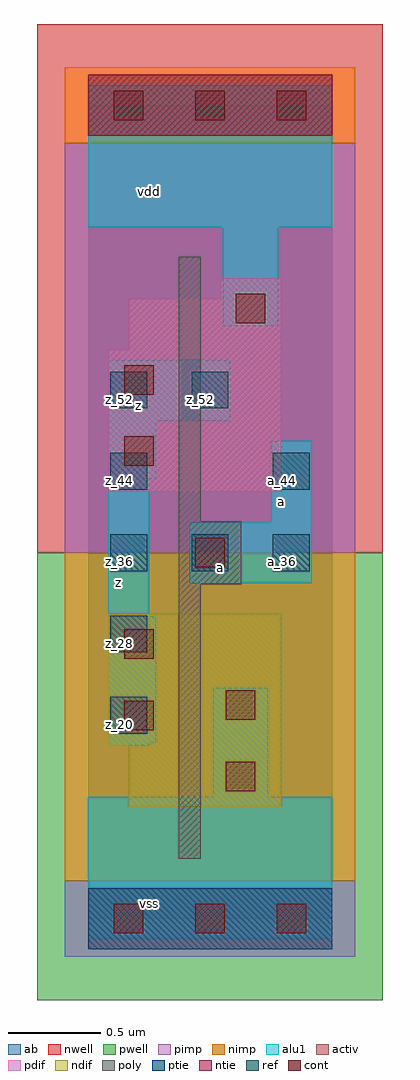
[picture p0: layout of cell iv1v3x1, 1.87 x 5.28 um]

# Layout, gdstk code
import gdstk
lib = gdstk.Library(unit=1e-6, precision=2.5e-09)
def R(c, l, rs):  # rectangles x0, y0, x1, y1
    for r in rs: c.add(gdstk.rectangle(r[:2], r[2:], *l))
def A(c, l, x, y, w, h, nx, ny, dx, dy):  # array of equal rectangles
    R(c, l, [(x+i*dx, y+j*dy, x+i*dx+w, y+j*dy+h) for i in range(nx) for j in range(ny)])
ndif = (3, 0)
pdif = (4, 0)
ntie = (5, 0)
ptie = (6, 0)
ref = (24, 0)
cont = (25, 0)
pwell = (41, 0)
nwell = (42, 0)
activ = (43, 0)
pimp = (44, 0)
nimp = (45, 0)
poly = (46, 0)
alu1 = (49, 0)
ab = (63, 0)

iv1v3x1 = lib.new_cell('iv1v3x1')
R(iv1v3x1, ndif, [(0.22,0.605,1.045,0.935), (0.11,0.935,1.045,1.65)])
R(iv1v3x1, pdif, [(0.11,2.31,1.045,3.08), (0.22,3.08,1.045,3.355), (0.715,3.355,1.045,3.465)])
R(iv1v3x1, ntie, [(0,4.235,1.32,4.565)])
R(iv1v3x1, ptie, [(0,-0.165,1.32,0.165)])
A(iv1v3x1, ref, 0.12, 1.88, 0.2, 0.2, 3, 1, 0.44, 0)
R(iv1v3x1, ref, [(0.12,1,0.32,1.2), (0.12,1.44,0.32,1.64), (0.12,2.32,0.32,2.52), (1,2.32,1.2,2.52), (0.12,2.76,0.32,2.96), (0.56,2.76,0.76,2.96)])
A(iv1v3x1, cont, 0.14, -0.08, 0.16, 0.16, 3, 2, 0.44, 4.4)
R(iv1v3x1, cont, [(0.745,0.69,0.905,0.85), (0.195,1.02,0.355,1.18), (0.745,1.075,0.905,1.235), (0.195,1.405,0.355,1.565), (0.58,1.9,0.74,2.06), (0.195,2.45,0.355,2.61), (0.195,2.835,0.355,2.995), (0.8,3.22,0.96,3.38)])
R(iv1v3x1, pwell, [(-0.275,-0.44,1.595,1.98)])
R(iv1v3x1, nwell, [(-0.275,1.98,1.595,4.84)])
R(iv1v3x1, activ, [(0,-0.165,1.32,0.165), (0.22,0.605,1.045,0.935), (0.11,0.935,1.045,1.65), (0.11,2.31,1.045,3.08), (0.22,3.08,1.045,3.355), (0.715,3.355,1.045,3.465), (0,4.235,1.32,4.565)])
R(iv1v3x1, pimp, [(-0.125,-0.205,1.445,0.205), (-0.125,1.98,1.445,4.195)])
R(iv1v3x1, nimp, [(-0.125,0.205,1.445,1.98), (-0.125,4.195,1.445,4.605)])
R(iv1v3x1, poly, [(0.49,0.325,0.61,1.81), (0.49,1.81,0.83,2.15), (0.49,2.15,0.61,3.58)])
R(iv1v3x1, alu1, [(0,-0.11,1.32,0.66), (0.675,0.66,0.975,1.25), (0.11,0.935,0.33,0.95), (0.11,0.95,0.37,1.635), (0.11,1.635,0.33,2.38), (0.55,1.815,1.21,2.145), (0.99,2.145,1.21,2.585), (0.11,2.38,0.37,2.695), (0.11,2.695,0.77,3.025), (0.73,3.205,1.03,3.74), (0,3.74,1.32,4.51)])
R(iv1v3x1, ab, [(0,0,1.32,4.4)])
iv1v3x1.add(gdstk.Label('vss', (0.33,0.0825), layer=49, texttype=0))
iv1v3x1.add(gdstk.Label('a', (0.715,1.8975), layer=49, texttype=0))
iv1v3x1.add(gdstk.Label('a', (1.045,2.255), layer=49, texttype=0))
iv1v3x1.add(gdstk.Label('z', (0.165,1.82), layer=49, texttype=0))
iv1v3x1.add(gdstk.Label('z', (0.275,2.7775), layer=49, texttype=0))
iv1v3x1.add(gdstk.Label('vdd', (0.33,3.9325), layer=49, texttype=0))
iv1v3x1.add(gdstk.Label('a_36', (0.61,1.93), layer=24, texttype=0))
iv1v3x1.add(gdstk.Label('z_52', (0.61,2.81), layer=24, texttype=0))
iv1v3x1.add(gdstk.Label('a_36', (1.05,1.93), layer=24, texttype=0))
iv1v3x1.add(gdstk.Label('a_44', (1.05,2.37), layer=24, texttype=0))
iv1v3x1.add(gdstk.Label('z_20', (0.17,1.05), layer=24, texttype=0))
iv1v3x1.add(gdstk.Label('z_28', (0.17,1.49), layer=24, texttype=0))
iv1v3x1.add(gdstk.Label('z_36', (0.17,1.93), layer=24, texttype=0))
iv1v3x1.add(gdstk.Label('z_44', (0.17,2.37), layer=24, texttype=0))
iv1v3x1.add(gdstk.Label('z_52', (0.17,2.81), layer=24, texttype=0))

lib.write_gds('iv1v3x1.gds')
